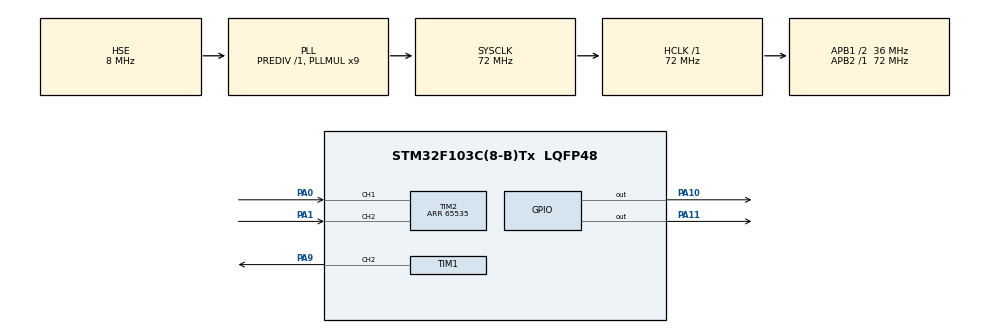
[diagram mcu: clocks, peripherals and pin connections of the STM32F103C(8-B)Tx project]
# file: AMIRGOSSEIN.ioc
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Mcu.Family=STM32F1
Mcu.Name=STM32F103C(8-B)Tx
Mcu.Package=LQFP48
NVIC.PriorityGroup=NVIC_PRIORITYGROUP_4
NVIC.TIM1_UP_IRQn=true\:0\:0\:false\:false\:true\:true\:true
NVIC.TIM2_IRQn=true\:0\:0\:false\:false\:true\:true\:true
NVIC.TIM3_IRQn=true\:0\:0\:false\:false\:true\:true\:true
PA0-WKUP.Signal=S_TIM2_CH1_ETR
PA1.Signal=S_TIM2_CH2
PA10.PinState=GPIO_PIN_SET
PA10.Signal=GPIO_Output
PA11.Signal=GPIO_Output
PA13.Mode=Serial_Wire
PA13.Signal=SYS_JTMS-SWDIO
PA14.Mode=Serial_Wire
PA14.Signal=SYS_JTCK-SWCLK
PA9.Signal=S_TIM1_CH2
PD0-OSC_IN.Mode=HSE-External-Oscillator
PD0-OSC_IN.Signal=RCC_OSC_IN
PD1-OSC_OUT.Mode=HSE-External-Oscillator
PD1-OSC_OUT.Signal=RCC_OSC_OUT
ProjectManager.HeapSize=0x200
ProjectManager.StackSize=0x400
ProjectManager.TargetToolchain=MDK-ARM V5
RCC.AHBFreq_Value=72000000
RCC.APB1CLKDivider=RCC_HCLK_DIV2
RCC.APB1Freq_Value=36000000
RCC.APB1TimFreq_Value=72000000
RCC.APB2Freq_Value=72000000
RCC.APB2TimFreq_Value=72000000
RCC.HCLKFreq_Value=72000000
RCC.PLLMUL=RCC_PLL_MUL9
RCC.PLLSourceVirtual=RCC_PLLSOURCE_HSE
RCC.SYSCLKFreq_VALUE=72000000
RCC.SYSCLKSource=RCC_SYSCLKSOURCE_PLLCLK
RCC.USBFreq_Value=72000000
SH.S_TIM1_CH2.0=TIM1_CH2,PWM Generation2 CH2
SH.S_TIM2_CH1_ETR.0=TIM2_CH1,Encoder_Interface
SH.S_TIM2_CH2.0=TIM2_CH2,Encoder_Interface
TIM1.AutoReloadPreload=TIM_AUTORELOAD_PRELOAD_ENABLE
TIM1.Channel-PWM\ Generation2\ CH2=TIM_CHANNEL_2
TIM1.Period=47999
TIM1.Prescaler=0
TIM2.AutoReloadPreload=TIM_AUTORELOAD_PRELOAD_ENABLE
TIM2.EncoderMode=TIM_ENCODERMODE_TI12
TIM2.IC1Filter=15
TIM2.IC2Filter=15
TIM2.Period=65535
TIM3.Channel-PWM\ Generation1\ No\ Output=TIM_CHANNEL_1
TIM3.Period=9999
TIM3.Prescaler=71
VP_TIM1_VS_ClockSourceINT.Mode=Internal
VP_TIM3_VS_no_output1.Mode=PWM Generation1 No Output
board=custom

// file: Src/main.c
/* USER CODE BEGIN Header */
/**
  ******************************************************************************
  * @file           : main.c
  * @brief          : Main program body
  ******************************************************************************
  * @attention
  *
  * <h2><center>&copy; Copyright (c) 2020 STMicroelectronics.
  * All rights reserved.</center></h2>
  *
  * This software component is licensed by ST under BSD 3-Clause license,
  * the "License"; You may not use this file except in compliance with the
  * License. You may obtain a copy of the License at:
  *                        opensource.org/licenses/BSD-3-Clause
  *
  ******************************************************************************
  */
/* USER CODE END Header */

#include "main.h"

TIM_HandleTypeDef htim1;
TIM_HandleTypeDef htim2;
TIM_HandleTypeDef htim3;

/* USER CODE BEGIN PV */
/* Private variables ---------------------------------------------------------*/
uint8_t Revolve = 0;
uint8_t PIDFlag = 0;

float Kp = 10000, Kd = 0 , Ki = 0.5;
float ITerm = 0 ;
float PTerm = 0 ;
float IntError  = 0 ;
float ControllerOut = 0 ;
float max_sum_error = 1000 ;

float MyError = 0;
float Speed = 0;
float PreSpeed = 0;
float SetPoint = 22;

uint16_t Pulse = 0;
uint16_t PPulse = 0;

/* USER CODE END PV */

void SystemClock_Config(void);
static void MX_GPIO_Init(void);
static void MX_TIM1_Init(void);
static void MX_TIM2_Init(void);
static void MX_TIM3_Init(void);

int main(void)
{

  /* MCU Configuration--------------------------------------------------------*/

  /* Reset of all peripherals, Initializes the Flash interface and the Systick. */
  HAL_Init();

  /* Configure the system clock */
  SystemClock_Config();

  /* Initialize all configured peripherals */
  MX_GPIO_Init();
  MX_TIM1_Init();
  MX_TIM2_Init();
  MX_TIM3_Init();
  /* USER CODE BEGIN 2 */
	/*
  HAL_GPIO_WritePin(GPIOA,GPIO_PIN_0,GPIO_PIN_SET);
  HAL_GPIO_WritePin(GPIOA,GPIO_PIN_1 ,GPIO_PIN_RESET);

 	HAL_TIM_Base_Start(&htim3);               //Initialize stm32 timer 3
	HAL_TIM_PWM_Start(&htim3,TIM_CHANNEL_3);  //PB0 Start pwm second motor 100% duty cycle

	//HAL_TIM_Base_Start(&htim4);
	HAL_TIM_Base_Start_IT(&htim4);
	*/

		HAL_GPIO_WritePin(GPIOA,GPIO_PIN_10, GPIO_PIN_SET);   // Start first motor clock wise rotation
		HAL_GPIO_WritePin(GPIOA,GPIO_PIN_11,GPIO_PIN_RESET);

		__HAL_TIM_CLEAR_IT(&htim1,TIM_IT_UPDATE);
		__HAL_TIM_CLEAR_IT(&htim2,TIM_IT_UPDATE);

		__HAL_TIM_ENABLE_IT(&htim1,TIM_IT_UPDATE);
		__HAL_TIM_ENABLE_IT(&htim2,TIM_IT_UPDATE);
		__HAL_TIM_ENABLE_IT(&htim3,TIM_IT_UPDATE);

		HAL_TIM_PWM_Start(&htim1, TIM_CHANNEL_2);

		HAL_TIM_Encoder_Start(&htim2, TIM_CHANNEL_1);
		HAL_TIM_Encoder_Start(&htim2, TIM_CHANNEL_2);

  /* USER CODE END 2 */

  /* Infinite loop */
		while (1)
		{

    /* USER CODE BEGIN 3 */

		}
}

void PIDCalculate()
{
	//Pulse = __HAL_TIM_GET_COUNTER(&htim2);
	Pulse = TIM2->CNT;
	Speed = 65535*Revolve + Pulse - PPulse;
	PPulse = Pulse;
	Revolve = 0;

	MyError = SetPoint - Speed;

	//if(MyError < 0 ){

	//HAL_GPIO_WritePin(GPIOA,GPIO_PIN_10, GPIO_PIN_RESET);
	//HAL_GPIO_WritePin(GPIOA,GPIO_PIN_11,GPIO_PIN_SET);
	//}

	IntError += MyError;

	PTerm = Kp * MyError;
	ITerm = Ki * IntError;
	if (ITerm > 24000)
		ITerm = 24000;

	ControllerOut = ITerm + PTerm;

	if (ControllerOut < 0)
		ControllerOut = 0;

	if(ControllerOut > 48000)
		ControllerOut = 48000;

	__HAL_TIM_SET_COMPARE(&htim1, TIM_CHANNEL_2, ControllerOut);

}
void HAL_TIM_PeriodElapsedCallback(TIM_HandleTypeDef *htim)
{
	if (htim->Instance == TIM1)
	{
		PIDCalculate();
	}
	if (htim->Instance == TIM2)
	{
		Revolve = 1;
	}

  /* USER CODE END 3 */
}

void SystemClock_Config(void)
{
  RCC_OscInitTypeDef RCC_OscInitStruct = {0};
  RCC_ClkInitTypeDef RCC_ClkInitStruct = {0};

  /** Initializes the CPU, AHB and APB busses clocks
  */
  RCC_OscInitStruct.OscillatorType = RCC_OSCILLATORTYPE_HSE;
  RCC_OscInitStruct.HSEState = RCC_HSE_ON;
  RCC_OscInitStruct.HSEPredivValue = RCC_HSE_PREDIV_DIV1;
  RCC_OscInitStruct.HSIState = RCC_HSI_ON;
  RCC_OscInitStruct.PLL.PLLState = RCC_PLL_ON;
  RCC_OscInitStruct.PLL.PLLSource = RCC_PLLSOURCE_HSE;
  RCC_OscInitStruct.PLL.PLLMUL = RCC_PLL_MUL9;
  if (HAL_RCC_OscConfig(&RCC_OscInitStruct) != HAL_OK)
  {
    Error_Handler();
  }
  /** Initializes the CPU, AHB and APB busses clocks
  */
  RCC_ClkInitStruct.ClockType = RCC_CLOCKTYPE_HCLK|RCC_CLOCKTYPE_SYSCLK
                              |RCC_CLOCKTYPE_PCLK1|RCC_CLOCKTYPE_PCLK2;
  RCC_ClkInitStruct.SYSCLKSource = RCC_SYSCLKSOURCE_PLLCLK;
  RCC_ClkInitStruct.AHBCLKDivider = RCC_SYSCLK_DIV1;
  RCC_ClkInitStruct.APB1CLKDivider = RCC_HCLK_DIV2;
  RCC_ClkInitStruct.APB2CLKDivider = RCC_HCLK_DIV1;

  if (HAL_RCC_ClockConfig(&RCC_ClkInitStruct, FLASH_LATENCY_2) != HAL_OK)
  {
    Error_Handler();
  }
}

static void MX_TIM1_Init(void)
{

  TIM_ClockConfigTypeDef sClockSourceConfig = {0};
  TIM_MasterConfigTypeDef sMasterConfig = {0};
  TIM_OC_InitTypeDef sConfigOC = {0};
  TIM_BreakDeadTimeConfigTypeDef sBreakDeadTimeConfig = {0};

  htim1.Instance = TIM1;
  htim1.Init.Prescaler = 2;
  htim1.Init.CounterMode = TIM_COUNTERMODE_UP;
  htim1.Init.Period = 47999;
  htim1.Init.ClockDivision = TIM_CLOCKDIVISION_DIV1;
  htim1.Init.RepetitionCounter = 0;
  htim1.Init.AutoReloadPreload = TIM_AUTORELOAD_PRELOAD_ENABLE;
  if (HAL_TIM_Base_Init(&htim1) != HAL_OK)
  {
    Error_Handler();
  }
  sClockSourceConfig.ClockSource = TIM_CLOCKSOURCE_INTERNAL;
  if (HAL_TIM_ConfigClockSource(&htim1, &sClockSourceConfig) != HAL_OK)
  {
    Error_Handler();
  }
  if (HAL_TIM_PWM_Init(&htim1) != HAL_OK)
  {
    Error_Handler();
  }
  sMasterConfig.MasterOutputTrigger = TIM_TRGO_RESET;
  sMasterConfig.MasterSlaveMode = TIM_MASTERSLAVEMODE_DISABLE;
  if (HAL_TIMEx_MasterConfigSynchronization(&htim1, &sMasterConfig) != HAL_OK)
  {
    Error_Handler();
  }
  sConfigOC.OCMode = TIM_OCMODE_PWM1;
  sConfigOC.Pulse = 0;
  sConfigOC.OCPolarity = TIM_OCPOLARITY_HIGH;
  sConfigOC.OCNPolarity = TIM_OCNPOLARITY_HIGH;
  sConfigOC.OCFastMode = TIM_OCFAST_DISABLE;
  sConfigOC.OCIdleState = TIM_OCIDLESTATE_RESET;
  sConfigOC.OCNIdleState = TIM_OCNIDLESTATE_RESET;
  if (HAL_TIM_PWM_ConfigChannel(&htim1, &sConfigOC, TIM_CHANNEL_2) != HAL_OK)
  {
    Error_Handler();
  }
  sBreakDeadTimeConfig.OffStateRunMode = TIM_OSSR_DISABLE;
  sBreakDeadTimeConfig.OffStateIDLEMode = TIM_OSSI_DISABLE;
  sBreakDeadTimeConfig.LockLevel = TIM_LOCKLEVEL_OFF;
  sBreakDeadTimeConfig.DeadTime = 0;
  sBreakDeadTimeConfig.BreakState = TIM_BREAK_DISABLE;
  sBreakDeadTimeConfig.BreakPolarity = TIM_BREAKPOLARITY_HIGH;
  sBreakDeadTimeConfig.AutomaticOutput = TIM_AUTOMATICOUTPUT_DISABLE;
  if (HAL_TIMEx_ConfigBreakDeadTime(&htim1, &sBreakDeadTimeConfig) != HAL_OK)
  {
    Error_Handler();
  }
  HAL_TIM_MspPostInit(&htim1);

}

static void MX_TIM2_Init(void)
{

  TIM_Encoder_InitTypeDef sConfig = {0};
  TIM_MasterConfigTypeDef sMasterConfig = {0};

  htim2.Instance = TIM2;
  htim2.Init.Prescaler = 0;
  htim2.Init.CounterMode = TIM_COUNTERMODE_UP;
  htim2.Init.Period = 65535;
  htim2.Init.ClockDivision = TIM_CLOCKDIVISION_DIV1;
  htim2.Init.AutoReloadPreload = TIM_AUTORELOAD_PRELOAD_ENABLE;
  sConfig.EncoderMode = TIM_ENCODERMODE_TI12;
  sConfig.IC1Polarity = TIM_ICPOLARITY_RISING;
  sConfig.IC1Selection = TIM_ICSELECTION_DIRECTTI;
  sConfig.IC1Prescaler = TIM_ICPSC_DIV1;
  sConfig.IC1Filter = 15;
  sConfig.IC2Polarity = TIM_ICPOLARITY_RISING;
  sConfig.IC2Selection = TIM_ICSELECTION_DIRECTTI;
  sConfig.IC2Prescaler = TIM_ICPSC_DIV1;
  sConfig.IC2Filter = 15;
  if (HAL_TIM_Encoder_Init(&htim2, &sConfig) != HAL_OK)
  {
    Error_Handler();
  }
  sMasterConfig.MasterOutputTrigger = TIM_TRGO_RESET;
  sMasterConfig.MasterSlaveMode = TIM_MASTERSLAVEMODE_DISABLE;
  if (HAL_TIMEx_MasterConfigSynchronization(&htim2, &sMasterConfig) != HAL_OK)
  {
    Error_Handler();
  }

}

static void MX_TIM3_Init(void)
{

  TIM_MasterConfigTypeDef sMasterConfig = {0};
  TIM_OC_InitTypeDef sConfigOC = {0};

  htim3.Instance = TIM3;
  htim3.Init.Prescaler = 71;
  htim3.Init.CounterMode = TIM_COUNTERMODE_UP;
  htim3.Init.Period = 9999;
  htim3.Init.ClockDivision = TIM_CLOCKDIVISION_DIV1;
  htim3.Init.AutoReloadPreload = TIM_AUTORELOAD_PRELOAD_DISABLE;
  if (HAL_TIM_PWM_Init(&htim3) != HAL_OK)
  {
    Error_Handler();
  }
  sMasterConfig.MasterOutputTrigger = TIM_TRGO_RESET;
  sMasterConfig.MasterSlaveMode = TIM_MASTERSLAVEMODE_DISABLE;
  if (HAL_TIMEx_MasterConfigSynchronization(&htim3, &sMasterConfig) != HAL_OK)
  {
    Error_Handler();
  }
  sConfigOC.OCMode = TIM_OCMODE_PWM1;
  sConfigOC.Pulse = 0;
  sConfigOC.OCPolarity = TIM_OCPOLARITY_HIGH;
  sConfigOC.OCFastMode = TIM_OCFAST_DISABLE;
  if (HAL_TIM_PWM_ConfigChannel(&htim3, &sConfigOC, TIM_CHANNEL_1) != HAL_OK)
  {
    Error_Handler();
  }

}

static void MX_GPIO_Init(void)
{
  GPIO_InitTypeDef GPIO_InitStruct = {0};

  /* GPIO Ports Clock Enable */
  __HAL_RCC_GPIOD_CLK_ENABLE();
  __HAL_RCC_GPIOA_CLK_ENABLE();

  /*Configure GPIO pin Output Level */
  HAL_GPIO_WritePin(GPIOA, GPIO_PIN_10, GPIO_PIN_SET);

  /*Configure GPIO pin Output Level */
  HAL_GPIO_WritePin(GPIOA, GPIO_PIN_11, GPIO_PIN_RESET);

  /*Configure GPIO pins : PA10 PA11 */
  GPIO_InitStruct.Pin = GPIO_PIN_10|GPIO_PIN_11;
  GPIO_InitStruct.Mode = GPIO_MODE_OUTPUT_PP;
  GPIO_InitStruct.Pull = GPIO_NOPULL;
  GPIO_InitStruct.Speed = GPIO_SPEED_FREQ_LOW;
  HAL_GPIO_Init(GPIOA, &GPIO_InitStruct);

}

void Error_Handler(void)
{
}

/************************ (C) COPYRIGHT STMicroelectronics *****END OF FILE****/
